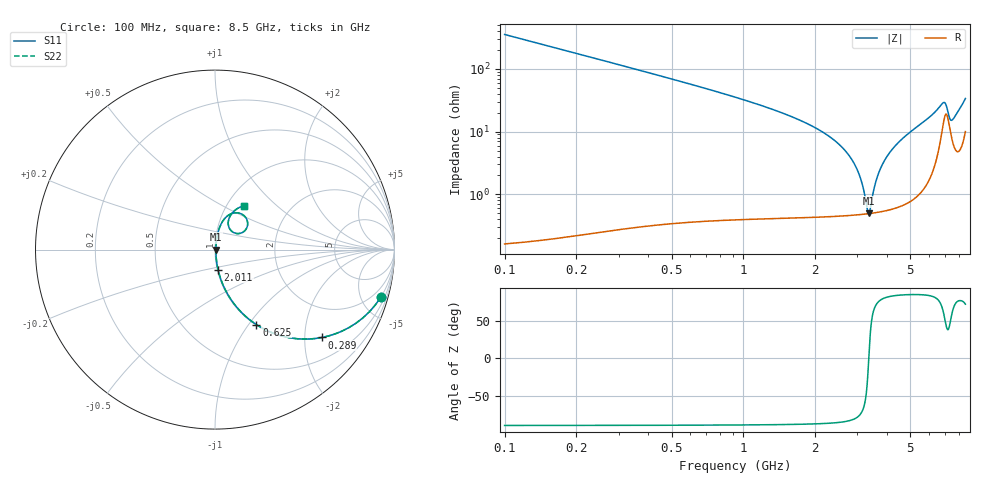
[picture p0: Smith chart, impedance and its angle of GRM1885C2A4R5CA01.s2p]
!Murata Part Number: GRM1885C2A4R5CA01
!These Parameters are Measured in Series Mode Connection
!Data Generated on Mar 30, 2021
!  o--ll--o
!Port1  Port2
!  o------o
!Operation Temp=25[degC], DC Bias Voltage=0[V]
!Freq. Start=100[MHz] Stop=9[GHz] 401[Steps]
# Hz S RI R 50
!Freq.(Hz) S11(Real) S11(Imag) S21(Real) S21(Imag) S12(Real) S12(Imag) S22(Real) S22(Imag)
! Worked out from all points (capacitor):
!   401 points, 100 MHz to 8.5 GHz, reference 50 ohm
!   read as one part in series: C = 4.5 pF near 142 MHz
!   lowest |Z| = 496 mohm at 3.355 GHz (marker M1)
!   series resonance near 3.348 GHz, so ESL is about 500 pH
!   S11 on the Smith chart (normalised r, x): 100 MHz: 1.00, -7.07; 289 MHz: 1.01, -2.43; 625 MHz: 1.01, -1.09; 2.011 GHz: 1.01, -0.23; 8.5 GHz: 1.20, +0.64
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1e8  0.9257 -0.262  0.0743 0.262  0.0743 0.262  0.9257 -0.262
2.89e8  0.5954 -0.4897  0.4046 0.4897  0.4046 0.4897  0.5954 -0.4897
4.57e8  0.3659 -0.4795  0.6341 0.4795  0.6341 0.4795  0.3659 -0.4795
6.25e8  0.231 -0.4182  0.769 0.4182  0.769 0.4182  0.231 -0.4182
9.61e8  0.1053 -0.3012  0.8947 0.3012  0.8947 0.3012  0.1053 -0.3012
1.507e9  0.0379 -0.1802  0.9621 0.1802  0.9621 0.1802  0.0379 -0.1802
2.011e9  0.0169 -0.1113  0.9831 0.1113  0.9831 0.1113  0.0169 -0.1113
2.557e9  0.00789 -0.0581  0.9921 0.0581  0.9921 0.0581  0.00789 -0.0581
2.914e9  0.00555 -0.03  0.9944 0.03  0.9944 0.03  0.00555 -0.03
3.103e9  0.00502 -0.0165  0.995 0.0165  0.995 0.0165  0.00502 -0.0165
3.313e9  0.00489 -0.00228  0.9951 0.00228  0.9951 0.00228  0.00489 -0.00228
3.355e9  0.00491 0.000458  0.9951 -0.000458  0.9951 -0.000458  0.00491 0.000458
3.565e9  0.00526 0.0138  0.9947 -0.0138  0.9947 -0.0138  0.00526 0.0138
3.712e9  0.00572 0.0228  0.9943 -0.0228  0.9943 -0.0228  0.00572 0.0228
3.964e9  0.0069 0.0377  0.9931 -0.0377  0.9931 -0.0377  0.0069 0.0377
4.3e9  0.0092 0.0569  0.9908 -0.0569  0.9908 -0.0569  0.0092 0.0569
5.707e9  0.032 0.1385  0.968 -0.1385  0.968 -0.1385  0.032 0.1385
6.799e9  0.1428 0.2006  0.8572 -0.2006  0.8572 -0.2006  0.1428 0.2006
7.114e9  0.1689 0.1083  0.8311 -0.1083  0.8311 -0.1083  0.1689 0.1083
7.303e9  0.1136 0.0911  0.8864 -0.0911  0.8864 -0.0911  0.1136 0.0911
7.45e9  0.0862 0.1095  0.9138 -0.1095  0.9138 -0.1095  0.0862 0.1095
8.5e9  0.1626 0.245  0.8374 -0.245  0.8374 -0.245  0.1626 0.245
